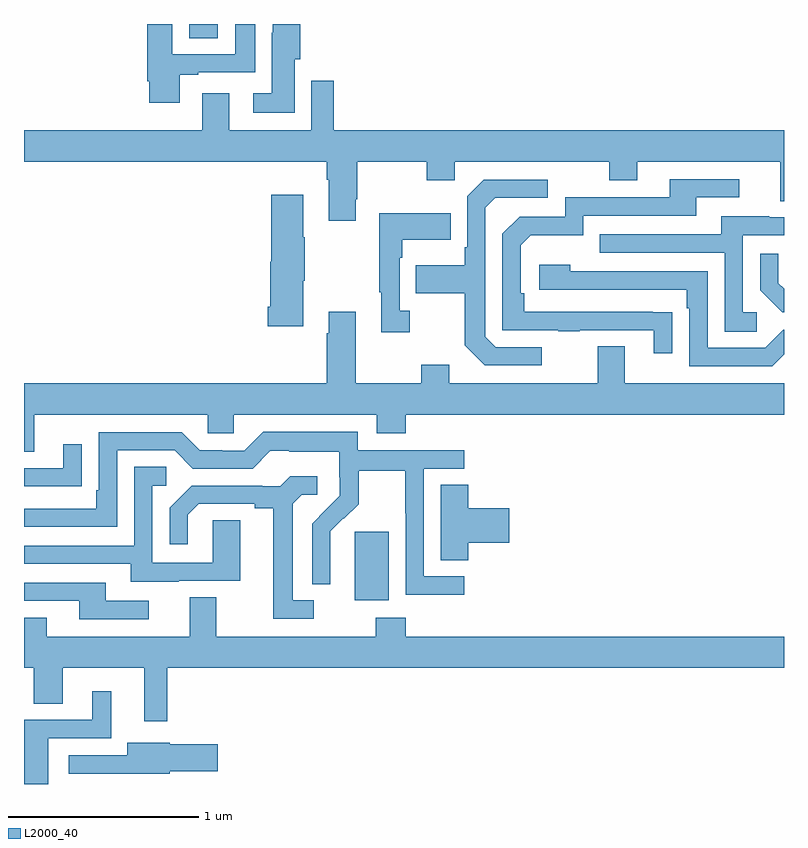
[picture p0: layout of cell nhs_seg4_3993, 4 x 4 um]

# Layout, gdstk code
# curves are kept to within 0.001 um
import gdstk
lib = gdstk.Library(unit=1e-6, precision=1e-09)
def R(c, l, rs):  # rectangles x0, y0, x1, y1
    for r in rs: c.add(gdstk.rectangle(r[:2], r[2:], *l))
def P(c, l, *ps):  # polygons
    for p in ps: c.add(gdstk.Polygon(p, *l))
L2000_40 = (2000, 40)

nhs_seg4_3993 = lib.new_cell('nhs_seg4_3993')
R(nhs_seg4_3993, L2000_40, [(324.74,771.866,324.919,772.227), (323.87,774.826,324.019,774.9)])
P(nhs_seg4_3993, L2000_40, [(324.424,774.714),(324.455,774.714),(324.455,774.9),(324.309,774.9),(324.309,774.854),(324.305,774.854),(324.305,774.535),(324.207,774.535),(324.207,774.434),(324.424,774.434)],
  [(323.821,774.633),(323.917,774.633),(323.917,774.645),(324.217,774.645),(324.217,774.9),(324.113,774.9),(324.113,774.741),(323.779,774.741),(323.779,774.9),(323.648,774.9),(323.648,774.598),(323.66,774.598),(323.66,774.486),(323.821,774.486)],
  [(324.745,773.977),(324.753,773.977),(324.753,774.176),(325.12,774.176),(325.12,774.077),(325.266,774.077),(325.266,774.176),(326.08,774.176),(326.08,774.077),(326.227,774.077),(326.227,774.176),(326.981,774.176),(326.981,773.968),(327,773.968),(327,774.34),(324.629,774.34),(324.629,774.601),(324.513,774.601),(324.513,774.34),(324.079,774.34),(324.079,774.535),(323.939,774.535),(323.939,774.34),(323,774.34),(323,774.176),(324.593,774.176),(324.593,774.08),(324.605,774.08),(324.605,773.865),(324.745,773.865)],
  [(326.411,773.384),(325.634,773.385),(325.634,773.482),(325.614,773.482),(325.614,773.736),(325.667,773.789),(325.944,773.789),(325.944,773.892),(326.539,773.892),(326.539,773.988),(326.764,773.988),(326.764,774.084),(326.399,774.084),(326.399,773.988),(325.848,773.988),(325.848,773.886),(325.608,773.886),(325.518,773.796),(325.518,773.289),(325.813,773.289),(325.813,773.284),(325.925,773.284),(325.925,773.289),(326.315,773.289),(326.315,773.166),(326.411,773.166)],
  [(325.726,773.199),(325.482,773.199),(325.428,773.253),(325.428,773.934),(325.479,773.985),(325.756,773.985),(325.756,774.081),(325.419,774.081),(325.332,773.994),(325.332,773.725),(325.32,773.725),(325.32,773.629),(325.063,773.629),(325.063,773.482),(325.32,773.482),(325.32,773.209),(325.425,773.103),(325.726,773.103)],
  [(324.469,773.549),(324.477,773.549),(324.477,773.777),(324.469,773.777),(324.469,774.001),(324.302,774.001),(324.302,773.649),(324.296,773.649),(324.296,773.413),(324.284,773.413),(324.284,773.309),(324.469,773.309)],
  [(325.03,773.39),(324.978,773.39),(324.978,773.669),(324.991,773.669),(324.991,773.765),(325.247,773.765),(325.247,773.905),(324.87,773.905),(324.87,773.489),(324.881,773.489),(324.881,773.277),(325.03,773.277)],
  [(326.857,773.382),(326.784,773.382),(326.784,773.787),(327,773.787),(327,773.883),(326.923,773.883),(326.923,773.887),(326.669,773.887),(326.669,773.793),(326.029,773.793),(326.029,773.697),(326.688,773.697),(326.688,773.281),(326.857,773.281)],
  [(327,773.506),(326.971,773.535),(326.971,773.692),(326.874,773.692),(326.874,773.498),(326.99,773.382),(327,773.382)],
  [(327,773.163),(327,773.292),(326.997,773.292),(326.901,773.196),(326.598,773.196),(326.598,773.598),(325.874,773.598),(325.874,773.632),(325.713,773.632),(325.713,773.502),(326.489,773.502),(326.489,773.405),(326.502,773.405),(326.502,773.1),(326.937,773.1)],
  [(323.053,772.844),(323.967,772.844),(323.967,772.746),(324.105,772.746),(324.105,772.844),(324.857,772.844),(324.857,772.745),(325.01,772.745),(325.01,772.844),(327,772.844),(327,773.008),(326.161,773.008),(326.161,773.203),(326.021,773.203),(326.021,773.008),(325.237,773.008),(325.237,773.107),(325.09,773.107),(325.09,773.008),(324.745,773.008),(324.745,773.386),(324.605,773.386),(324.605,773.273),(324.593,773.273),(324.593,773.008),(323,773.008),(323,772.65),(323.053,772.65)],
  [(325.318,771.993),(325.104,771.993),(325.104,772.56),(325.318,772.56),(325.318,772.656),(324.756,772.656),(324.756,772.753),(324.259,772.753),(324.159,772.653),(324.044,772.653),(324.044,772.656),(323.925,772.656),(323.829,772.752),(323.394,772.752),(323.394,772.447),(323.381,772.447),(323.381,772.35),(323,772.35),(323,772.254),(323.49,772.254),(323.49,772.656),(323.793,772.656),(323.889,772.56),(324.204,772.56),(324.297,772.653),(324.397,772.653),(324.397,772.649),(324.66,772.649),(324.66,772.515),(324.662,772.515),(324.662,772.418),(324.516,772.27),(324.516,771.952),(324.612,771.952),(324.611,772.229),(324.681,772.299),(324.684,772.296),(324.761,772.373),(324.761,772.548),(325.006,772.548),(325.006,772.324),(325.008,772.324),(325.008,771.895),(325.318,771.895)],
  [(323.201,772.468),(323.303,772.468),(323.303,772.687),(323.207,772.687),(323.207,772.563),(323,772.563),(323,772.467),(323.201,772.467)],
  [(323.815,771.969),(324.139,771.969),(324.139,772.289),(323.994,772.289),(323.994,772.065),(323.676,772.065),(323.676,772.47),(323.749,772.47),(323.749,772.571),(323.58,772.571),(323.58,772.155),(323,772.155),(323,772.059),(323.561,772.059),(323.561,771.965),(323.815,771.965)],
  [(324.526,771.867),(324.415,771.867),(324.415,772.375),(324.462,772.422),(324.544,772.422),(324.544,772.519),(324.4,772.519),(324.348,772.467),(324.254,772.467),(324.254,772.47),(323.882,772.47),(323.766,772.354),(323.766,772.161),(323.863,772.161),(323.863,772.317),(323.92,772.374),(324.215,772.374),(324.215,772.352),(324.311,772.352),(324.311,771.771),(324.526,771.771)],
  [(325.337,772.169),(325.555,772.169),(325.555,772.352),(325.337,772.352),(325.337,772.475),(325.193,772.475),(325.193,772.078),(325.337,772.078)],
  [(323.656,771.864),(323.431,771.864),(323.431,771.96),(323,771.96),(323,771.864),(323.291,771.864),(323.291,771.768),(323.656,771.768)],
  [(323.119,771.775),(323,771.775),(323,771.512),(323.051,771.512),(323.051,771.322),(323.203,771.322),(323.203,771.512),(323.633,771.512),(323.633,771.231),(323.755,771.231),(323.755,771.512),(327,771.512),(327,771.676),(325.01,771.676),(325.01,771.775),(324.85,771.775),(324.85,771.676),(324.013,771.676),(324.013,771.884),(323.873,771.884),(323.873,771.676),(323.119,771.676)],
  [(323.128,771.141),(323.458,771.141),(323.458,771.388),(323.36,771.388),(323.36,771.237),(323,771.237),(323,770.9),(323.128,770.9)],
  [(323.766,770.966),(324.019,770.966),(324.019,771.108),(323.766,771.108),(323.766,771.118),(323.543,771.118),(323.543,771.051),(323.235,771.051),(323.235,770.955),(323.547,770.955),(323.547,770.954),(323.766,770.954)])

lib.write_gds('nhs_seg4_3993.gds')
